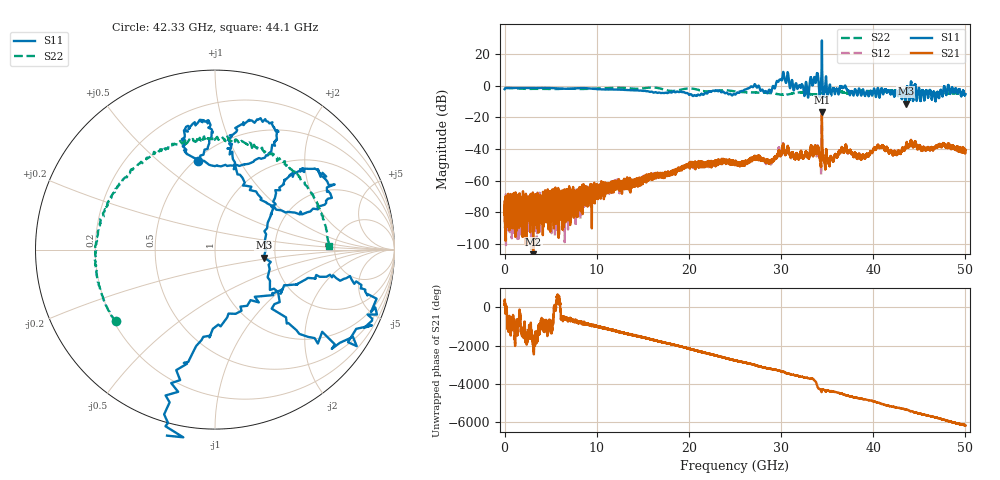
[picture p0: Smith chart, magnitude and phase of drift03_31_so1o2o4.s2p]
!Created with skrf (http://scikit-rf.org).
# Hz S RI R 50.0
!freq ReS11 ImS11 ReS21 ImS21 ReS12 ImS12 ReS22 ImS22
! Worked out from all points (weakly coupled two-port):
!   10000 points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, 5.3 MHz to 50 GHz, reference 50 ohm
!   highest |S21| = -16.63 dB at 34.43 GHz (marker M1); lowest = -106.6 dB at 3.11 GHz (marker M2)
!   lowest |S11| = -11.2 dB at 43.53 GHz (marker M3), VSWR 1.76, Z = 86.7 - j8.27 ohm
!   |S11| at or under -10 dB: 43.49422 GHz to 43.53484 GHz (40.62 MHz wide, 0.0933 % of centre); 43.53621 GHz to 43.54232 GHz (6.108 MHz wide, 0.014 % of centre)
!   |S22| runs from -5.8 to -1.1 dB; largest |S21 - S12| = 0.05
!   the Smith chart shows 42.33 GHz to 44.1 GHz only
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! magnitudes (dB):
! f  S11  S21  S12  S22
! 5.3 MHz  -2.1  -81.6  -76.1  -1.3
! 3.11 GHz  -1.4  -106.6  -75.4  -2.0
! 8.34 GHz  -1.5  -72.6  -71.5  -2.1
! 16.67 GHz  -4.4  -57.0  -56.3  -1.5
! 20.02 GHz  -5.6  -50.9  -48.9  -1.7
! 25.01 GHz  -5.5  -48.2  -48.8  -3.5
! 27.02 GHz  -0.4  -46.1  -46.0  -4.3
! 28.72 GHz  -2.5  -48.1  -48.2  -4.5
! 30.14 GHz  4.4  -40.2  -40.9  -5.7
! 32.74 GHz  2.0  -42.1  -42.1  -4.6
! 33.34 GHz  2.6  -39.8  -40.5  -5.6
! 33.82 GHz  4.0  -41.9  -42.0  -5.7
! 34.43 GHz  28.6  -16.6  -18.9  -4.6
! 35.32 GHz  0.4  -46.0  -46.2  -3.4
! 36.84 GHz  -0.7  -41.8  -41.5  -4.1
! 38.86 GHz  -2.6  -44.2  -43.7  -3.2
! 40.6 GHz  -4.2  -38.1  -38.4  -4.0
! 41.67 GHz  -3.1  -42.0  -42.0  -3.3
! 43.53 GHz  -11.2  -38.7  -38.2  -4.2
! 46.94 GHz  -4.1  -38.9  -38.8  -4.8
! 48.32 GHz  -4.5  -37.4  -38.3  -4.6
! 50 GHz  -5.2  -40.6  -41.2  -4.5
